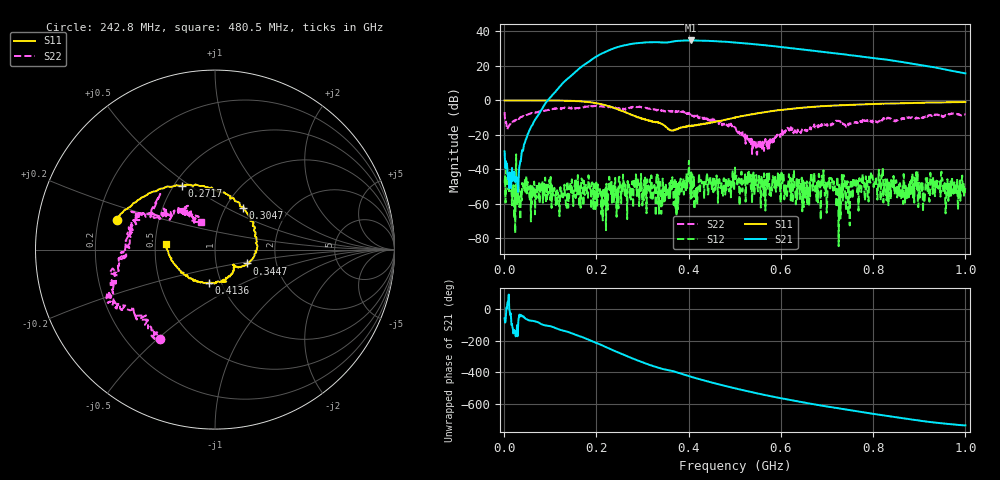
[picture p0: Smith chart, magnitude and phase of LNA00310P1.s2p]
! Created with skrf 1.9.0 (http://scikit-rf.org).
# Hz S RI R 50.0
!freq ReS11 ImS11 ReS21 ImS21 ReS12 ImS12 ReS22 ImS22
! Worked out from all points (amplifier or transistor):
!   1001 points, 1 MHz to 1 GHz, reference 50 ohm
!   highest |S21| = 34.7 dB at 405.6 MHz (marker M1)
!   |S21| within 3 dB of that: 257.6 MHz to 573 MHz (315.4 MHz wide, 75.9 % of centre)
!   unconditionally stable (mu >= 1): start of sweep to 84.86 MHz; 401.1 MHz to 821 MHz; 821.2 MHz to end of sweep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
!   at 166.8 MHz: K = 1.77, MAG = 28.9 dB, |S12| = -48.7 dB
!   at 500.5 MHz: K = 1.03, MAG = 35.3 dB, |S12| = -39.0 dB
!   at 1 GHz: K = 3.55, MAG = 23.8 dB, |S12| = -48.9 dB
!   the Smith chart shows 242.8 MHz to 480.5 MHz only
!   S11 on the Smith chart (normalised r, x): 242.8 MHz: 0.28, +0.14; 271.7 MHz: 0.55, +0.47; 304.7 MHz: 1.20, +0.61; 344.7 MHz: 1.41, -0.23; 413.6 MHz: 0.88, -0.34; 480.5 MHz: 0.57, +0.04
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1000000  0.996 0.019  0.017 -0.0284  0.00303 0.00269  0.3672 0.2698
1.08892e8  0.5131 -0.8518  -0.7812 -1.453  -1.02e-05 -0.00293  0.4221 -0.3779
1.67833e8  -0.2481 -0.8956  -9.485 -0.6009  0.00323 -0.00439  0.0353 -0.6366
2.09791e8  -0.6867 -0.3728  -15.21 16.01  -0.00157 0.00155  -0.1903 -0.6536
2.42758e8  -0.5458 0.1657  -0.4059 33.92  0.000184 -0.0028  -0.3071 -0.5002
2.71729e8  -0.1852 0.3562  24.16 34.69  -0.000502 -0.00256  -0.5002 -0.3117
3.04696e8  0.1562 0.2345  45.33 14.73  0.000858 0.00164  -0.5633 -0.193
3.34666e8  0.2303 -0.0162  47.52 -9.606  -0.00326 0.00431  -0.4977 -0.0323
3.44656e8  0.1789 -0.077  44.65 -16.06  -0.00291 -0.00128  -0.4973 0.034
3.73627e8  0.1048 -0.0993  40.78 -33.51  -0.000222 0.000386  -0.4348 0.1705
4.05595e8  0.00318 -0.1861  20.23 -50.72  0.00693 0.00428  -0.3023 0.1826
4.13587e8  -0.0321 -0.1845  14.08 -52.41  0.00187 0.0022  -0.2978 0.2061
4.45555e8  -0.1751 -0.1286  -9.409 -51.99  0.00472 -0.00185  -0.1505 0.2446
4.8052e8  -0.2756 0.029  -29.62 -40.43  0.00497 0.000778  -0.0775 0.1547
5.005e8  -0.2932 0.1397  -37.06 -30.36  0.00429 0.0104  -0.0497 0.1568
5.4046e8  -0.2018 0.3456  -41.54 -9.562  0.0071 -0.00364  -0.0213 0.0696
5.88412e8  0.0052 0.5051  -35.25 10.41  0.00249 -0.00122  -0.0617 -0.056
6.67333e8  0.3936 0.5104  -14.23 23.6  -0.00262 -0.00394  -0.1665 -0.055
7.53247e8  0.682 0.2964  3.421 19.91  0.000372 -0.00423  -0.2121 -0.027
8.34166e8  0.806 0.0282  10.62 10.3  -0.00411 0.00161  -0.2985 -0.0464
9.16084e8  0.8247 -0.2573  9.708 1.711  -0.00232 0.00293  -0.339 0.0838
1e9  0.7339 -0.514  5.864 -1.508  -0.00299 0.00198  -0.3322 0.1905
